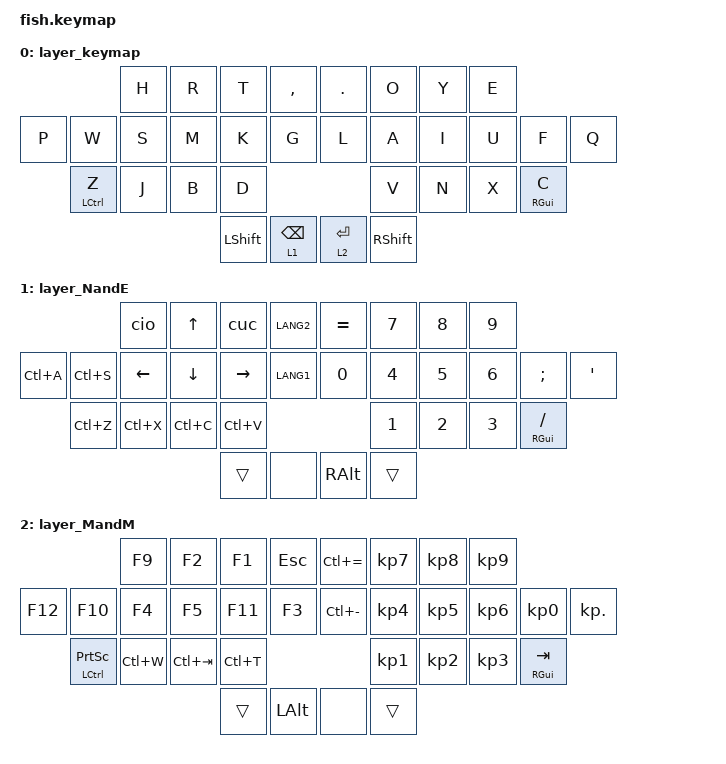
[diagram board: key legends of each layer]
// キーマップを更新する方法は https://o24.works/fish/guide を参照
// 視覚的に編集するには https://o24.works/fish/editor を参照


// 定義を呼んでくる
#include <behaviors.dtsi>
#include <dt-bindings/zmk/keys.h>
#include <dt-bindings/zmk/mouse.h>
#include <dt-bindings/zmk/bt.h>
#include <dt-bindings/zmk/outputs.h>
#include <dt-bindings/zmk/pointing.h>


// 特殊入力の挙動を調整できる

&mt {
    flavor = "tap-preferred";
    tapping-term-ms = <225>;
    quick-tap-ms = <200>;
    require-prior-idle-ms = <150>;
};

&lt {
    flavor = "balanced";
    tapping-term-ms = <175>;
    quick-tap-ms = <200>;
};

&sk {
};

&sl {
};

&caps_word {
};

&key_repeat {
};


/ {
    // 独自の入力を定義できる（上級者向け）

    behaviors {
        cio: zen_han_katakana {
            compatible = "zmk,behavior-mod-morph";
            #binding-cells = <0>;
            bindings = <&kp LC(I)>, <&kp LC(O)>;
            mods = <(MOD_LSFT|MOD_RSFT)>;
        };
        cuc: hiragana_caps {
            compatible = "zmk,behavior-mod-morph";
            #binding-cells = <0>;
            bindings = <&kp LC(U)>, <&kp CAPS>;
            mods = <(MOD_LSFT|MOD_RSFT)>;
        };
    };

    macros {
    };

    conditional_layers {
    };


    // 複数キーの同時押しに特別の入力を設定できる
    // キー番号早見表：
    //       0  1  2  3     4  5  6  7
    // 8  9 10 11 12 13    14 15 16 17 18 19
    //   20 21 22 23          24 25 26 27
    //            28 29    30 31

    combos {
        compatible = "zmk,combos";
        timeout-ms = <100>;
        require-prior-idle-ms = <150>;
    };
    

    // キーに入力を割り当てる
    // 型（&...）は https://zmk.dev/docs/behaviors/... を参照
    // キーコードは https://zmk.dev/docs/codes/... を参照

    keymap {
        compatible = "zmk,keymap";

        layer_keymap {
            bindings = <
                        &kp H       &kp R       &kp T       &kp COMMA           &kp DOT     &kp O       &kp Y       &kp E       
&kp P       &kp W       &kp S       &kp M       &kp K       &kp G               &kp L       &kp A       &kp I       &kp U       &kp F       &kp Q       
            &mt LCTRL Z &kp J       &kp B       &kp D                                       &kp V       &kp N       &kp X       &mt RGUI C  
                                                &kp LSHFT   &lt 1 BSPC          &lt 2 RET   &kp RSHFT   
            >;
        };

        layer_NandE {
            bindings = <
                        &cio        &kp UP      &cuc        &kp LANG2           &kp EQUAL   &kp N7      &kp N8      &kp N9      
&kp LC(A)   &kp LC(S)   &kp LEFT    &kp DOWN    &kp RIGHT   &kp LANG1           &kp N0      &kp N4      &kp N5      &kp N6      &kp SEMI    &kp SQT     
            &kp LC(Z)   &kp LC(X)   &kp LC(C)   &kp LC(V)                                   &kp N1      &kp N2      &kp N3      &mt RGUI FSLH 
                                                &trans      &none               &kp RALT    &trans      
            >;
        };

        layer_MandM {
            bindings = <
                        &kp F9      &kp F2      &kp F1      &kp ESC             &kp LC(EQUAL) &kp KP_N7 &kp KP_N8   &kp KP_N9   
&kp F12     &kp F10     &kp F4      &kp F5      &kp F11     &kp F3              &kp LC(MINUS) &kp KP_N4 &kp KP_N5   &kp KP_N6   &kp KP_N0   &kp KP_DOT  
            &mt LCTRL PSCRN &kp LC(W) &kp LC(TAB) &kp LC(T)                                 &kp KP_N1   &kp KP_N2   &kp KP_N3   &mt RGUI TAB 
                                                &trans      &kp LALT            &none       &trans      
            >;
        };
    };
};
